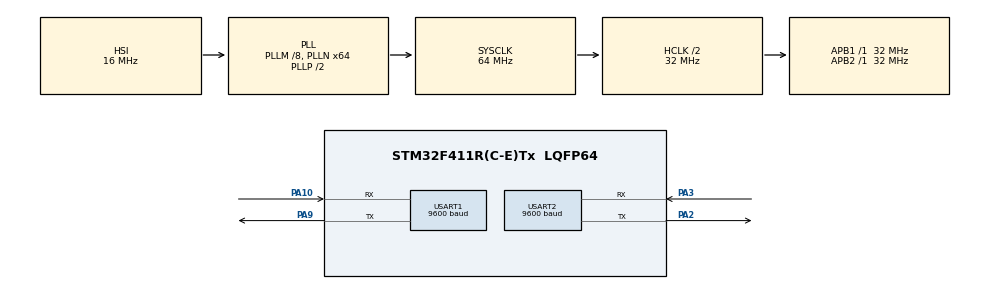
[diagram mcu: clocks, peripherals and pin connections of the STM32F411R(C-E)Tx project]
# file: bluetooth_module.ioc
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Mcu.Family=STM32F4
Mcu.Name=STM32F411R(C-E)Tx
Mcu.Package=LQFP64
NVIC.PriorityGroup=NVIC_PRIORITYGROUP_4
NVIC.USART2_IRQn=true\:0\:0\:false\:false\:true\:true\:true\:true
PA10.Mode=Asynchronous
PA10.Signal=USART1_RX
PA2.Mode=Asynchronous
PA2.Signal=USART2_TX
PA3.Mode=Asynchronous
PA3.Signal=USART2_RX
PA9.Mode=Asynchronous
PA9.Signal=USART1_TX
ProjectManager.HeapSize=0x200
ProjectManager.StackSize=0x400
ProjectManager.TargetToolchain=STM32CubeIDE
RCC.48MHZClocksFreq_Value=32000000
RCC.AHBCLKDivider=RCC_SYSCLK_DIV2
RCC.AHBFreq_Value=32000000
RCC.APB1Freq_Value=32000000
RCC.APB1TimFreq_Value=32000000
RCC.APB2Freq_Value=32000000
RCC.APB2TimFreq_Value=32000000
RCC.CortexFreq_Value=32000000
RCC.HCLKFreq_Value=32000000
RCC.HSE_VALUE=25000000
RCC.HSI_VALUE=16000000
RCC.LSE_VALUE=32768
RCC.PLLM=8
RCC.PLLN=64
RCC.SYSCLKFreq_VALUE=64000000
RCC.SYSCLKSource=RCC_SYSCLKSOURCE_PLLCLK
RCC.VCOOutputFreq_Value=128000000
TIM2.Period=65535
TIM2.Prescaler=31
USART1.BaudRate=9600
USART1.VirtualMode=VM_ASYNC
USART2.BaudRate=9600
USART2.VirtualMode=VM_ASYNC
VP_TIM2_VS_ClockSourceINT.Mode=Internal
board=custom

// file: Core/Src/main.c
/* USER CODE BEGIN Header */
/**
  ******************************************************************************
  * @file           : main.c
  * @brief          : Main program body
  ******************************************************************************
  * @attention
  *
  * Copyright (c) 2024 STMicroelectronics.
  * All rights reserved.
  *
  * This software is licensed under terms that can be found in the LICENSE file
  * in the root directory of this software component.
  * If no LICENSE file comes with this software, it is provided AS-IS.
  *
  ******************************************************************************
  */
/* USER CODE END Header */
#include "main.h"

/* USER CODE BEGIN Includes */
#include "HM10_Setup.h"
#include "AT_command.h"
/* USER CODE END Includes */

TIM_HandleTypeDef htim2;

UART_HandleTypeDef huart1;
UART_HandleTypeDef huart2;

/* USER CODE BEGIN PV */
uint8_t rxBuffer2;
uint8_t rxBuffer1;
/* USER CODE END PV */

void SystemClock_Config(void);
static void MX_GPIO_Init(void);
static void MX_USART1_UART_Init(void);
static void MX_TIM2_Init(void);
static void MX_USART2_UART_Init(void);

/* USER CODE BEGIN 0 */
int _write(int file, char *p, int len) {
	HAL_UART_Transmit(&huart2, p, len, 1);
	return len;
}

/* USER CODE END 0 */

int main(void)
{

  /* MCU Configuration--------------------------------------------------------*/

  /* Reset of all peripherals, Initializes the Flash interface and the Systick. */
  HAL_Init();

  /* Configure the system clock */
  SystemClock_Config();

  /* Initialize all configured peripherals */
  MX_GPIO_Init();
  MX_USART1_UART_Init();
  MX_TIM2_Init();
  MX_USART2_UART_Init();
  /* USER CODE BEGIN 2 */
  HAL_UART_Receive_IT(&huart1, &rxBuffer1, 1);
  HAL_UART_Receive_IT(&huart2, &rxBuffer2, 1);

  /* USER CODE END 2 */

  /* Infinite loop */
  while (1)
  {

  }
}

void SystemClock_Config(void)
{
  RCC_OscInitTypeDef RCC_OscInitStruct = {0};
  RCC_ClkInitTypeDef RCC_ClkInitStruct = {0};

  /** Configure the main internal regulator output voltage
  */
  __HAL_RCC_PWR_CLK_ENABLE();
  __HAL_PWR_VOLTAGESCALING_CONFIG(PWR_REGULATOR_VOLTAGE_SCALE1);

  /** Initializes the RCC Oscillators according to the specified parameters
  * in the RCC_OscInitTypeDef structure.
  */
  RCC_OscInitStruct.OscillatorType = RCC_OSCILLATORTYPE_HSI;
  RCC_OscInitStruct.HSIState = RCC_HSI_ON;
  RCC_OscInitStruct.HSICalibrationValue = RCC_HSICALIBRATION_DEFAULT;
  RCC_OscInitStruct.PLL.PLLState = RCC_PLL_ON;
  RCC_OscInitStruct.PLL.PLLSource = RCC_PLLSOURCE_HSI;
  RCC_OscInitStruct.PLL.PLLM = 8;
  RCC_OscInitStruct.PLL.PLLN = 64;
  RCC_OscInitStruct.PLL.PLLP = RCC_PLLP_DIV2;
  RCC_OscInitStruct.PLL.PLLQ = 4;
  if (HAL_RCC_OscConfig(&RCC_OscInitStruct) != HAL_OK)
  {
    Error_Handler();
  }

  /** Initializes the CPU, AHB and APB buses clocks
  */
  RCC_ClkInitStruct.ClockType = RCC_CLOCKTYPE_HCLK|RCC_CLOCKTYPE_SYSCLK
                              |RCC_CLOCKTYPE_PCLK1|RCC_CLOCKTYPE_PCLK2;
  RCC_ClkInitStruct.SYSCLKSource = RCC_SYSCLKSOURCE_PLLCLK;
  RCC_ClkInitStruct.AHBCLKDivider = RCC_SYSCLK_DIV2;
  RCC_ClkInitStruct.APB1CLKDivider = RCC_HCLK_DIV1;
  RCC_ClkInitStruct.APB2CLKDivider = RCC_HCLK_DIV1;

  if (HAL_RCC_ClockConfig(&RCC_ClkInitStruct, FLASH_LATENCY_1) != HAL_OK)
  {
    Error_Handler();
  }
}

static void MX_TIM2_Init(void)
{

  TIM_ClockConfigTypeDef sClockSourceConfig = {0};
  TIM_MasterConfigTypeDef sMasterConfig = {0};

  htim2.Instance = TIM2;
  htim2.Init.Prescaler = 31;
  htim2.Init.CounterMode = TIM_COUNTERMODE_UP;
  htim2.Init.Period = 65535;
  htim2.Init.ClockDivision = TIM_CLOCKDIVISION_DIV1;
  htim2.Init.AutoReloadPreload = TIM_AUTORELOAD_PRELOAD_DISABLE;
  if (HAL_TIM_Base_Init(&htim2) != HAL_OK)
  {
    Error_Handler();
  }
  sClockSourceConfig.ClockSource = TIM_CLOCKSOURCE_INTERNAL;
  if (HAL_TIM_ConfigClockSource(&htim2, &sClockSourceConfig) != HAL_OK)
  {
    Error_Handler();
  }
  sMasterConfig.MasterOutputTrigger = TIM_TRGO_RESET;
  sMasterConfig.MasterSlaveMode = TIM_MASTERSLAVEMODE_DISABLE;
  if (HAL_TIMEx_MasterConfigSynchronization(&htim2, &sMasterConfig) != HAL_OK)
  {
    Error_Handler();
  }

}

static void MX_USART1_UART_Init(void)
{

  huart1.Instance = USART1;
  huart1.Init.BaudRate = 9600;
  huart1.Init.WordLength = UART_WORDLENGTH_8B;
  huart1.Init.StopBits = UART_STOPBITS_1;
  huart1.Init.Parity = UART_PARITY_NONE;
  huart1.Init.Mode = UART_MODE_TX_RX;
  huart1.Init.HwFlowCtl = UART_HWCONTROL_NONE;
  huart1.Init.OverSampling = UART_OVERSAMPLING_16;
  if (HAL_UART_Init(&huart1) != HAL_OK)
  {
    Error_Handler();
  }

}

static void MX_USART2_UART_Init(void)
{

  huart2.Instance = USART2;
  huart2.Init.BaudRate = 9600;
  huart2.Init.WordLength = UART_WORDLENGTH_8B;
  huart2.Init.StopBits = UART_STOPBITS_1;
  huart2.Init.Parity = UART_PARITY_NONE;
  huart2.Init.Mode = UART_MODE_TX_RX;
  huart2.Init.HwFlowCtl = UART_HWCONTROL_NONE;
  huart2.Init.OverSampling = UART_OVERSAMPLING_16;
  if (HAL_UART_Init(&huart2) != HAL_OK)
  {
    Error_Handler();
  }

}

static void MX_GPIO_Init(void)
{

  /* GPIO Ports Clock Enable */
  __HAL_RCC_GPIOA_CLK_ENABLE();

}

/* USER CODE BEGIN 4 */
void HAL_UART_RxCpltCallback(UART_HandleTypeDef *huart){
	if(huart->Instance == USART2){
		HAL_UART_Receive_IT(&huart2, rxBuffer2, 1);
		HAL_UART_Transmit(&huart1, rxBuffer2, 1, 0);

	}

	if(huart->Instance == USART1){
		HAL_UART_Receive_IT(&huart1, &rxBuffer1, 1);
		HAL_UART_Transmit(&huart2, &rxBuffer1, 1, 0);
	}
}

/* USER CODE END 4 */

void Error_Handler(void)
{
  __disable_irq();
  while (1)
  {
  }
}
